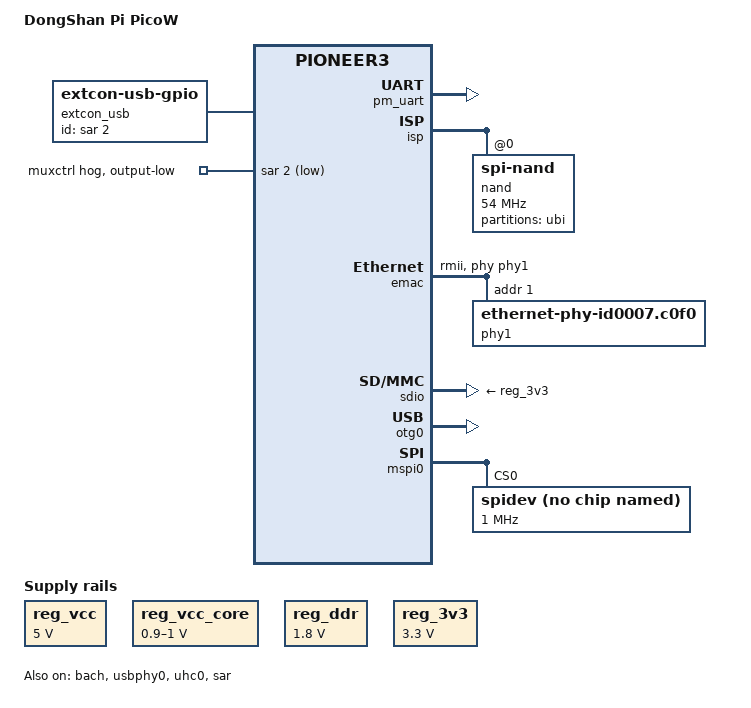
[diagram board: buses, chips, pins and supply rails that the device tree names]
// SPDX-License-Identifier: GPL-2.0
/*
 * Copyright (c) 2019 thingy.jp.
 * Author: Daniel Palmer <daniel@thingy.jp>
 */

/dts-v1/;
#include "mstar-pioneer3-ssd210.dtsi"

/ {
	model = "DongShan Pi PicoW";
	compatible = "100ask,dongshanpipicow", "sstar,pioneer3";

	aliases {
		serial0 = &pm_uart;
	};

	chosen {
		stdout-path = "serial0:115200n8";
		bootargs = "console=ttyS0,115200 clk_ignore_unused earlyprintk";
	};

	reg_vcc: regulator_vcc {
		compatible = "regulator-fixed";
		regulator-name = "vcc";
		regulator-min-microvolt = <5000000>;
		regulator-max-microvolt = <5000000>;
		regulator-boot-on;
	};

	reg_vcc_core: regulator_core {
		compatible = "regulator-gpio";
		regulator-name = "vcc_core";
		regulator-type = "voltage";
		regulator-min-microvolt = <900000>;
		regulator-max-microvolt = <1000000>;
		regulator-boot-on;
		regulator-ramp-delay = <12000>;
		gpios = <&sar 1 0>;
		states = <1000000 0x1
				  900000  0x0>;
	};

	reg_ddr: regulator_ddr {
		compatible = "regulator-fixed";
		regulator-name = "vcc_ddr";
		regulator-min-microvolt = <1800000>;
		regulator-max-microvolt = <1800000>;
		regulator-boot-on;
	};

	reg_3v3: regulator_3v3 {
		compatible = "regulator-fixed";
		regulator-name = "vcc_3v3";
		regulator-min-microvolt = <3300000>;
		regulator-max-microvolt = <3300000>;
		regulator-boot-on;
	};

	extcon_usb: extcon_iddig {
		compatible = "linux,extcon-usb-gpio";
		id-gpio = <&sar 2 GPIO_ACTIVE_HIGH>;
	};
};

&cpu0 {
	cpu-supply = <&reg_vcc_core>;
};

&pm_uart {
	status = "okay";
};

&isp {
	status = "okay";
	nand: nand@0 {
		#address-cells = <1>;
		#size-cells = <1>;
		compatible = "spi-nand";
		reg = <0>;
		spi-max-frequency = <54000000>;
		spi-rx-bus-width = <4>;
		partitions {
			compatible = "fixed-partitions";
			#address-cells = <1>;
			#size-cells = <1>;
			ubi@400000 {
				label = "ubi";
				reg = <0x400000 0x7c00000>;
			};
		};
	};
};

&bach {
	status = "okay";
};

&miu {
	ddr-supply = <&reg_ddr>;
};

&usbphy0 {
	status = "okay";
};

&uhc0 {
	status = "okay";
};

&sar {
	status = "okay";
	muxctrl {
		gpio-hog;
		/* low to enable WiFi */
		gpios = <2 GPIO_ACTIVE_LOW>;
		/* enable WiFi */
		//output-high;
		output-low;
	};
};

&emac {
	#address-cells = <1>;
	#size-cells = <0>;
	pinctrl-names = "default";
	pinctrl-0 = <&eth_mode8_pins>;
	phy-mode = "rmii";
	phy-handle = <&phy1>;
	status = "okay";
	phy1: ethernet-phy@1 {
		compatible = "ethernet-phy-id0007.c0f0",
					 "ethernet-phy-ieee802.3-c22";
		reg = <1>;
		smsc,disable-energy-detect;
	};
};

&pwm {
	//pinctrl-names = "default";
	//pinctrl-0 = <&ssd210_pwm0_mode1_pins>;
};

&sdio {
	pinctrl-names = "default";
	pinctrl-0 = <&ssd210_sdio_mode2_pins>;
	vmmc-supply = <&reg_3v3>;
	vqmmc-supply = <&reg_3v3>;
	//status = "okay";
};

&otg0 {
	//extcon = <&extcon_usb>;
	status = "okay";
};

&mspi0 {
	//pinctrl-names = "default";
	//pinctrl-0 = <&ssd210_spi0_mode3_pins>;
	status = "okay";
	spidev@0 {
		compatible = "rohm,dh2228fv";
		spi-max-frequency = <1000000>;
		reg = <0>;
	};
};
